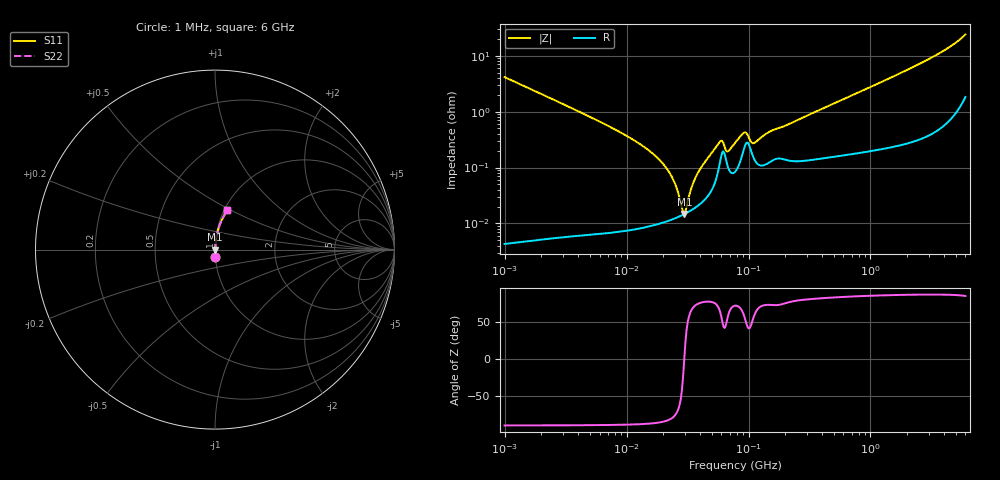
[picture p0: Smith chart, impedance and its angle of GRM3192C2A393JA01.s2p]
!Murata Part Number: GRM3192C2A393JA01
!These Parameters are Measured in Series Mode Connection
!Data Generated on Mar 30, 2021
!  o--ll--o
!Port1  Port2
!  o------o
!Operation Temp=25[degC], DC Bias Voltage=0[V]
!Freq. Start=1000[kHz] Stop=6[GHz] 401[Steps]
# Hz S RI R 50
!Freq.(Hz) S11(Real) S11(Imag) S21(Real) S21(Imag) S12(Real) S12(Imag) S22(Real) S22(Imag)
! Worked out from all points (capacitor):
!   401 points, 1 MHz to 6 GHz, reference 50 ohm
!   read as one part in series: C = 38.3 nF near 1.044 MHz
!   lowest |Z| = 14.7 mohm at 29.75 MHz (marker M1)
!   series resonance near 29.72 MHz, so ESL is about 750 pH
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1000000  0.00176 -0.0414  0.9982 0.0414  0.9982 0.0414  0.00176 -0.0414
4293785  0.00015 -0.00947  0.9998 0.00947  0.9998 0.00947  0.00015 -0.00947
1.093935e7  8.7e-05 -0.00329  0.9999 0.00329  0.9999 0.00329  8.7e-05 -0.00329
1.843659e7  0.0001 -0.0014  0.9999 0.0014  0.9999 0.0014  0.0001 -0.0014
2.393455e7  0.000119 -0.000619  0.9999 0.000619  0.9999 0.000619  0.000119 -0.000619
2.610999e7  0.000129 -0.00037  0.9999 0.00037  0.9999 0.00037  0.000129 -0.00037
2.848316e7  0.00014 -0.000121  0.9999 0.000121  0.9999 0.000121  0.00014 -0.000121
2.974945e7  0.000147 3.3e-06  0.9999 -3.3e-06  0.9999 -3.3e-06  0.000147 3.3e-06
3.107204e7  0.000154 0.000129  0.9998 -0.000129  0.9998 -0.000129  0.000154 0.000129
3.389622e7  0.000172 0.000384  0.9998 -0.000384  0.9998 -0.000384  0.000172 0.000384
3.618157e7  0.000189 0.000582  0.9998 -0.000582  0.9998 -0.000582  0.000189 0.000582
4.497189e7  0.000285 0.00132  0.9997 -0.00132  0.9997 -0.00132  0.000285 0.00132
5.838291e7  0.00125 0.00261  0.9987 -0.00261  0.9987 -0.00261  0.00125 0.00261
6.798347e7  0.001 0.00166  0.999 -0.00166  0.999 -0.00166  0.001 0.00166
7.745967e7  0.000841 0.00263  0.9992 -0.00263  0.9992 -0.00263  0.000841 0.00263
9.218041e7  0.00223 0.00356  0.9978 -0.00356  0.9978 -0.00356  0.00223 0.00356
1.121107e8  0.00137 0.0024  0.9986 -0.0024  0.9986 -0.0024  0.00137 0.0024
1.520136e8  0.00129 0.00429  0.9987 -0.00429  0.9987 -0.00429  0.00129 0.00429
3.325952e8  0.00145 0.00923  0.9985 -0.00923  0.9985 -0.00923  0.00145 0.00923
1.428092e9  0.0038 0.0391  0.9962 -0.0391  0.9962 -0.0391  0.0038 0.0391
3.5601e9  0.0157 0.1045  0.9843 -0.1045  0.9843 -0.1045  0.0157 0.1045
6e9  0.0695 0.219  0.9305 -0.219  0.9305 -0.219  0.0695 0.219
